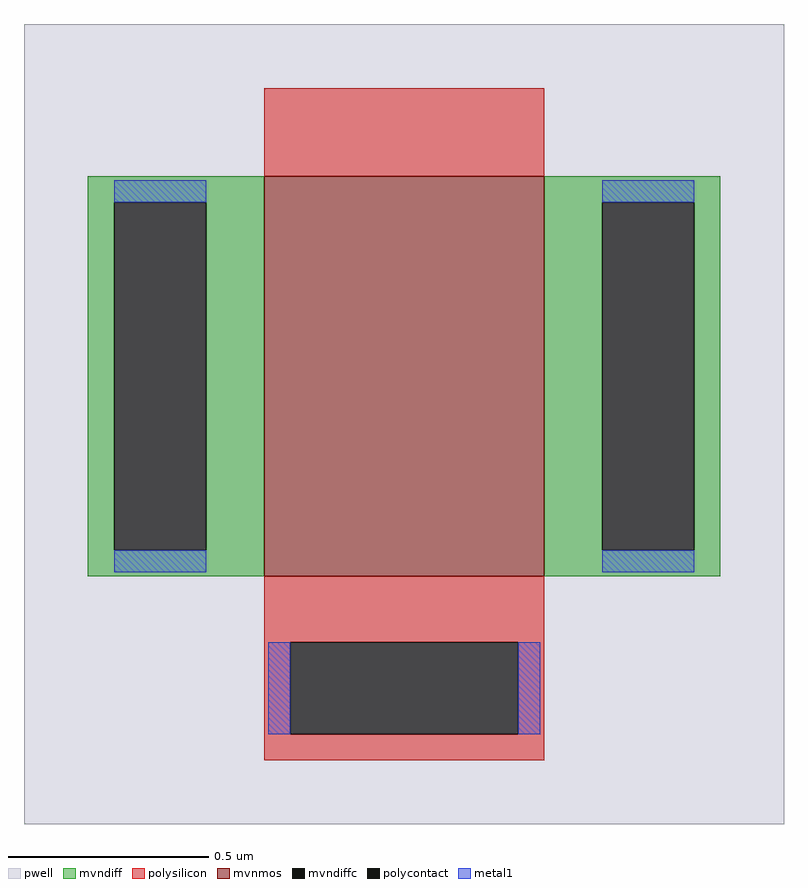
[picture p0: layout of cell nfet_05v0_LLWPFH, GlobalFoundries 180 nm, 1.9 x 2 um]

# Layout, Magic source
magic
tech gf180mcuD
magscale 1 10
<< pwell >>
rect -190 -200 190 200
<< mvnmos >>
rect -70 -76 70 124
<< mvndiff >>
rect -158 111 -70 124
rect -158 -63 -145 111
rect -99 -63 -70 111
rect -158 -76 -70 -63
rect 70 111 158 124
rect 70 -63 99 111
rect 145 -63 158 111
rect 70 -76 158 -63
<< mvndiffc >>
rect -145 -63 -99 111
rect 99 -63 145 111
<< polysilicon >>
rect -70 124 70 168
rect -70 -109 70 -76
rect -70 -155 -57 -109
rect 57 -155 70 -109
rect -70 -168 70 -155
<< polycontact >>
rect -57 -155 57 -109
<< metal1 >>
rect -145 111 -99 122
rect -145 -74 -99 -63
rect 99 111 145 122
rect 99 -74 145 -63
rect -68 -155 -57 -109
rect 57 -155 68 -109
<< properties >>
string gencell nfet_05v0
string library gf180mcu
string parameters w 1.0 l 0.695 m 1 nf 1 diffcov 100 polycov 100 guard 0 glc 0 grc 0 gtc 0 gbc 0 tbcov 100 rlcov 100 topc 0 botc 1 poverlap 0 doverlap 0 lmin 0.6 wmin 0.3 lmax 0.695 class mosfet full_metal 0 compatible {nfet_03v3 nfet_05v0 nfet_06v0 nfet_06v0_nvt}
<< end >>
